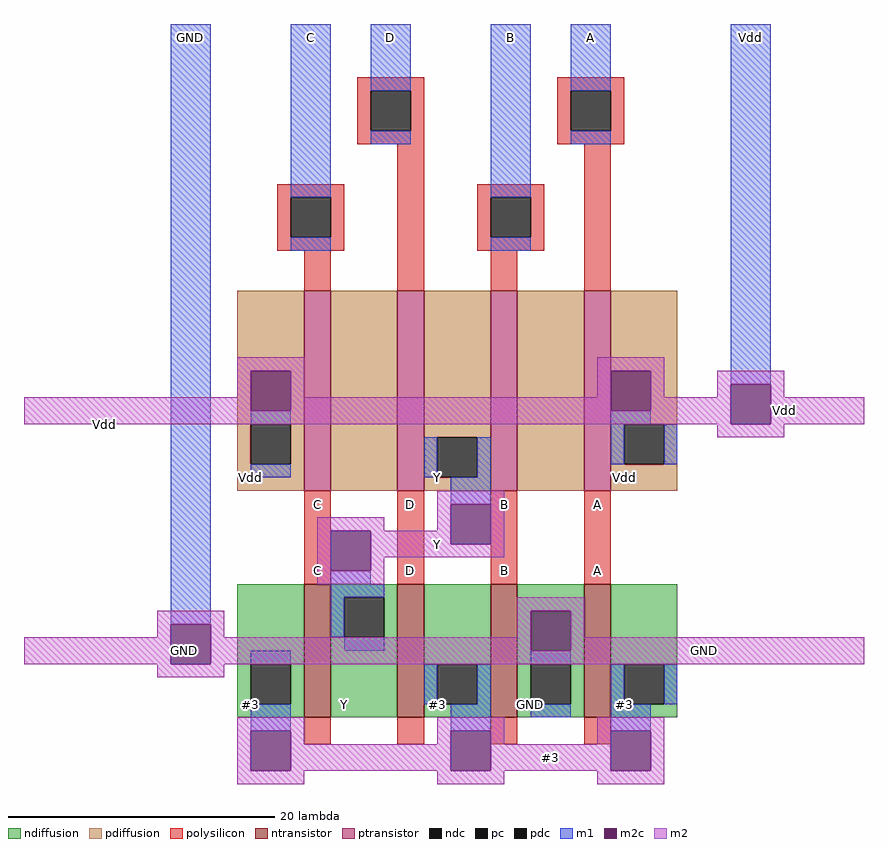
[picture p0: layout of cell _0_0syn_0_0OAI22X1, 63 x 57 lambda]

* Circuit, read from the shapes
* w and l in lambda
.subckt _0_0syn_0_0OAI22X1 #3 A B C D GND Vdd Y
M1 Y C #3 VSUBS nfet w=10 l=2
M2 #3 D Y VSUBS nfet w=10 l=2
M3 GND B #3 VSUBS nfet w=10 l=2
M4 #3 A GND VSUBS nfet w=10 l=2
M5 n1 C Vdd NWELL pfet w=15 l=2
M6 Y D n1 NWELL pfet w=15 l=2
M7 n2 B Y NWELL pfet w=15 l=2
M8 Vdd A n2 NWELL pfet w=15 l=2
.ends

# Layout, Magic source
magic
tech sky130l
<< ndiffusion >>
rect 8 10 13 16
rect 8 7 9 10
rect 12 7 13 10
rect 8 6 13 7
rect 15 15 20 16
rect 15 12 16 15
rect 19 12 20 15
rect 15 6 20 12
rect 22 10 27 16
rect 22 7 23 10
rect 26 7 27 10
rect 22 6 27 7
rect 29 10 34 16
rect 29 7 30 10
rect 33 7 34 10
rect 29 6 34 7
rect 36 10 41 16
rect 36 7 37 10
rect 40 7 41 10
rect 36 6 41 7
<< ndc >>
rect 9 7 12 10
rect 16 12 19 15
rect 23 7 26 10
rect 30 7 33 10
rect 37 7 40 10
<< ntransistor >>
rect 13 6 15 16
rect 20 6 22 16
rect 27 6 29 16
rect 34 6 36 16
<< pdiffusion >>
rect 8 28 13 38
rect 8 25 9 28
rect 12 25 13 28
rect 8 23 13 25
rect 15 23 20 38
rect 22 27 27 38
rect 22 24 23 27
rect 26 24 27 27
rect 22 23 27 24
rect 29 23 34 38
rect 36 28 41 38
rect 36 25 37 28
rect 40 25 41 28
rect 36 23 41 25
<< pdc >>
rect 9 25 12 28
rect 23 24 26 27
rect 37 25 40 28
<< ptransistor >>
rect 13 23 15 38
rect 20 23 22 38
rect 27 23 29 38
rect 34 23 36 38
<< polysilicon >>
rect 17 53 22 54
rect 17 50 18 53
rect 21 50 22 53
rect 17 49 22 50
rect 32 53 37 54
rect 32 50 33 53
rect 36 50 37 53
rect 32 49 37 50
rect 11 45 16 46
rect 11 42 12 45
rect 15 42 16 45
rect 11 41 16 42
rect 13 38 15 41
rect 20 38 22 49
rect 26 45 31 46
rect 26 42 27 45
rect 30 42 31 45
rect 26 41 31 42
rect 27 38 29 41
rect 34 38 36 49
rect 13 16 15 23
rect 20 16 22 23
rect 27 16 29 23
rect 34 16 36 23
rect 13 4 15 6
rect 20 4 22 6
rect 27 4 29 6
rect 34 4 36 6
<< pc >>
rect 18 50 21 53
rect 33 50 36 53
rect 12 42 15 45
rect 27 42 30 45
<< m1 >>
rect 3 13 6 58
rect 12 45 15 58
rect 18 53 21 58
rect 18 49 21 50
rect 12 41 15 42
rect 27 45 30 58
rect 33 53 36 58
rect 33 49 36 50
rect 27 41 30 42
rect 9 28 12 29
rect 36 28 39 29
rect 45 31 48 58
rect 9 24 12 25
rect 22 24 23 27
rect 26 24 27 27
rect 36 25 37 28
rect 40 25 41 28
rect 24 22 27 24
rect 15 16 18 17
rect 15 15 19 16
rect 15 12 16 15
rect 16 11 19 12
rect 9 10 12 11
rect 30 10 33 11
rect 22 7 23 10
rect 26 7 27 10
rect 9 5 12 7
rect 24 5 27 7
rect 30 6 33 7
rect 36 7 37 10
rect 40 7 41 10
rect 36 5 39 7
<< m2c >>
rect 9 29 12 32
rect 36 29 39 32
rect 45 28 48 31
rect 3 10 6 13
rect 15 17 18 20
rect 24 19 27 22
rect 30 11 33 14
rect 9 2 12 5
rect 24 2 27 5
rect 36 2 39 5
<< m2 >>
rect 8 32 13 33
rect 8 30 9 32
rect -8 29 9 30
rect 12 30 13 32
rect 35 32 40 33
rect 35 30 36 32
rect 12 29 36 30
rect 39 30 40 32
rect 44 31 49 32
rect 44 30 45 31
rect 39 29 45 30
rect -8 28 45 29
rect 48 30 49 31
rect 48 28 55 30
rect 44 27 49 28
rect 23 22 28 23
rect 14 20 19 21
rect 23 20 24 22
rect 14 17 15 20
rect 18 19 24 20
rect 27 19 28 22
rect 18 18 28 19
rect 18 17 19 18
rect 14 16 19 17
rect 29 14 34 15
rect 2 13 7 14
rect 2 12 3 13
rect -8 10 3 12
rect 6 12 7 13
rect 29 12 30 14
rect 6 11 30 12
rect 33 12 34 14
rect 33 11 55 12
rect 6 10 55 11
rect 2 9 7 10
rect 8 5 13 6
rect 8 2 9 5
rect 12 4 13 5
rect 23 5 28 6
rect 23 4 24 5
rect 12 2 24 4
rect 27 4 28 5
rect 35 5 40 6
rect 35 4 36 5
rect 27 2 36 4
rect 39 2 40 5
rect 8 1 13 2
rect 23 1 28 2
rect 35 1 40 2
<< labels >>
rlabel ndiffusion 37 7 37 7 3 #3
rlabel pdiffusion 37 24 37 24 3 Vdd
rlabel polysilicon 35 17 35 17 3 A
rlabel polysilicon 35 22 35 22 3 A
rlabel polysilicon 28 17 28 17 3 B
rlabel polysilicon 28 22 28 22 3 B
rlabel ndiffusion 23 7 23 7 3 #3
rlabel pdiffusion 23 24 23 24 3 Y
rlabel polysilicon 21 17 21 17 3 D
rlabel polysilicon 21 22 21 22 3 D
rlabel ndiffusion 16 7 16 7 3 Y
rlabel polysilicon 14 22 14 22 3 C
rlabel ndiffusion 9 7 9 7 3 #3
rlabel pdiffusion 9 24 9 24 3 Vdd
rlabel m2 30 2 33 4 1 #3
rlabel polysilicon 14 17 14 17 3 C
rlabel m2 22 18 24 20 1 Y
rlabel m1 12 56 15 58 4 C
rlabel m1 18 56 21 58 5 D
rlabel m1 27 56 30 58 5 B
rlabel m1 33 56 36 58 5 A
rlabel m2c 4 11 4 11 3 GND
rlabel m2 43 11 43 11 7 GND
rlabel m1 30 7 30 7 1 GND
rlabel m1 3 56 6 58 4 GND
rlabel m2 -2 28 -2 28 3 Vdd
rlabel m2 49 29 49 29 7 Vdd
rlabel m1 45 56 48 58 5 Vdd
<< end >>
